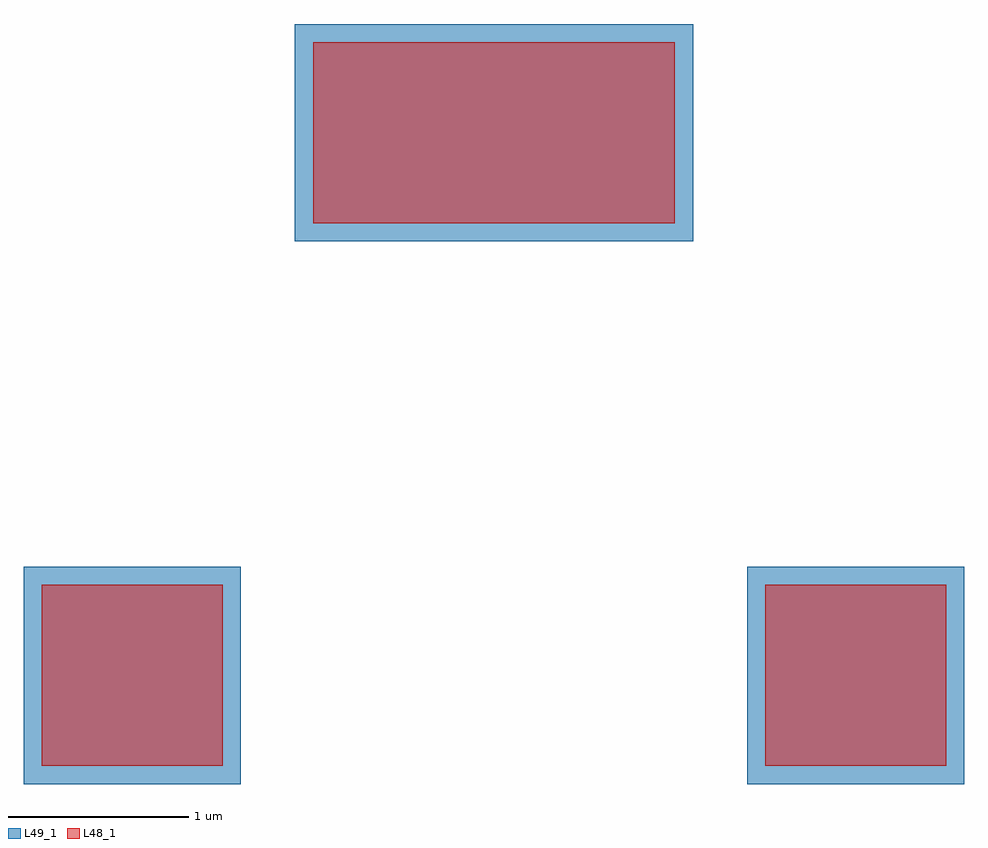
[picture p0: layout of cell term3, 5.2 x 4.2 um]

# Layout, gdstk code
import gdstk
lib = gdstk.Library(unit=1e-6, precision=1e-11)
def R(c, l, rs):  # rectangles x0, y0, x1, y1
    for r in rs: c.add(gdstk.rectangle(r[:2], r[2:], *l))
L48_1 = (48, 1)
L49_1 = (49, 1)

term3 = lib.new_cell('term3')
R(term3, L48_1, [(0,0,1,1), (4,0,5,1), (1.5,3,3.5,4)])
R(term3, L49_1, [(-0.1,-0.1,1.1,1.1), (3.9,-0.1,5.1,1.1), (1.4,2.9,3.6,4.1)])

lib.write_gds('term3.gds')
